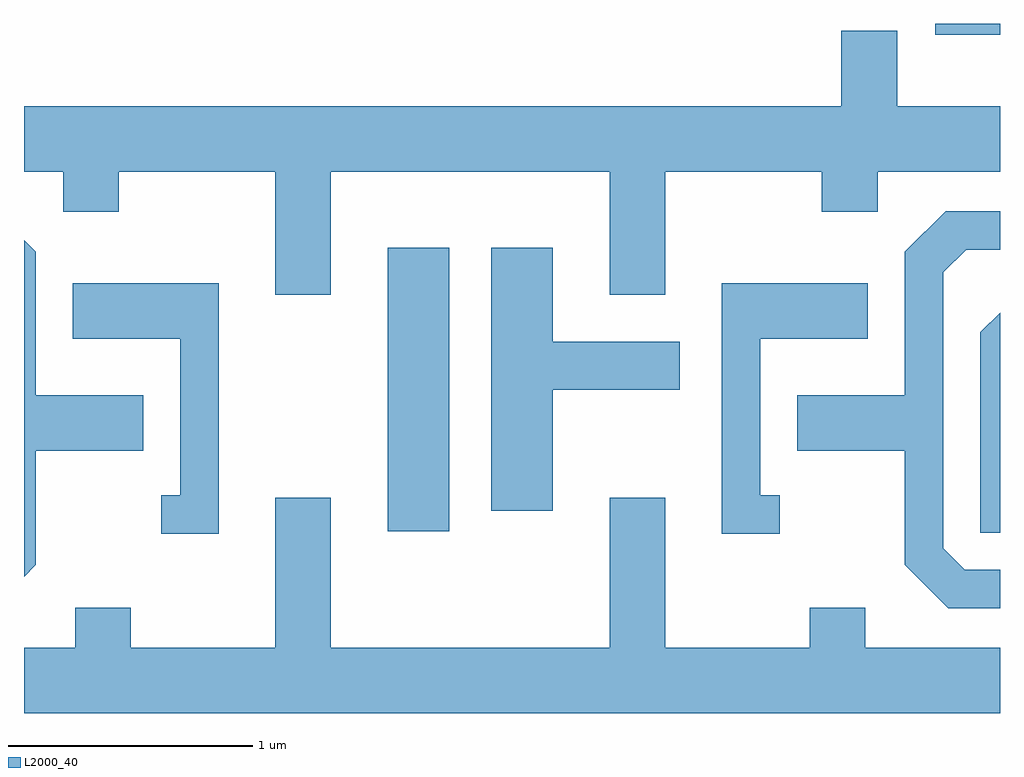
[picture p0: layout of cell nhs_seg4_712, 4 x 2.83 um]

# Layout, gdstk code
import gdstk
lib = gdstk.Library(unit=1e-6, precision=1e-09)
def R(c, l, rs):  # rectangles x0, y0, x1, y1
    for r in rs: c.add(gdstk.rectangle(r[:2], r[2:], *l))
def P(c, l, *ps):  # polygons
    for p in ps: c.add(gdstk.Polygon(p, *l))
L2000_40 = (2000, 40)

nhs_seg4_712 = lib.new_cell('nhs_seg4_712')
R(nhs_seg4_712, L2000_40, [(207.101,1319.901,207.354,1321.064), (209.346,1321.936,209.611,1321.982)])
P(nhs_seg4_712, L2000_40, [(206.869,1321.376),(208.011,1321.376),(208.011,1320.871),(208.239,1320.871),(208.239,1321.376),(208.881,1321.376),(208.881,1321.211),(209.109,1321.211),(209.109,1321.376),(209.611,1321.376),(209.611,1321.644),(209.189,1321.644),(209.189,1321.954),(208.961,1321.954),(208.961,1321.644),(205.611,1321.644),(205.611,1321.376),(205.771,1321.376),(205.771,1321.211),(205.999,1321.211),(205.999,1321.376),(206.641,1321.376),(206.641,1320.871),(206.869,1320.871)],
  [(209.611,1319.744),(209.467,1319.744),(209.379,1319.832),(209.379,1320.964),(209.472,1321.056),(209.611,1321.056),(209.611,1321.214),(209.389,1321.214),(209.221,1321.047),(209.221,1320.459),(208.781,1320.459),(208.781,1320.231),(209.221,1320.231),(209.221,1319.764),(209.399,1319.586),(209.611,1319.586)],
  [(205.659,1319.764),(205.659,1320.231),(206.099,1320.231),(206.099,1320.459),(205.659,1320.459),(205.659,1321.047),(205.611,1321.095),(205.611,1319.716)],
  [(207.779,1320.481),(208.299,1320.481),(208.299,1320.679),(207.779,1320.679),(207.779,1321.064),(207.526,1321.064),(207.526,1319.986),(207.779,1319.986)],
  [(206.409,1320.919),(205.811,1320.919),(205.811,1320.691),(206.251,1320.691),(206.251,1320.049),(206.173,1320.049),(206.173,1319.891),(206.409,1319.891)],
  [(208.708,1320.049),(208.629,1320.049),(208.629,1320.691),(209.069,1320.691),(209.069,1320.919),(208.471,1320.919),(208.471,1319.891),(208.708,1319.891)],
  [(209.611,1320.797),(209.531,1320.717),(209.531,1319.896),(209.611,1319.896)],
  [(209.611,1319.424),(209.059,1319.424),(209.059,1319.589),(208.831,1319.589),(208.831,1319.424),(208.239,1319.424),(208.239,1320.039),(208.011,1320.039),(208.011,1319.424),(206.869,1319.424),(206.869,1320.039),(206.641,1320.039),(206.641,1319.424),(206.049,1319.424),(206.049,1319.589),(205.821,1319.589),(205.821,1319.424),(205.611,1319.424),(205.611,1319.156),(209.611,1319.156)])

lib.write_gds('nhs_seg4_712.gds')
